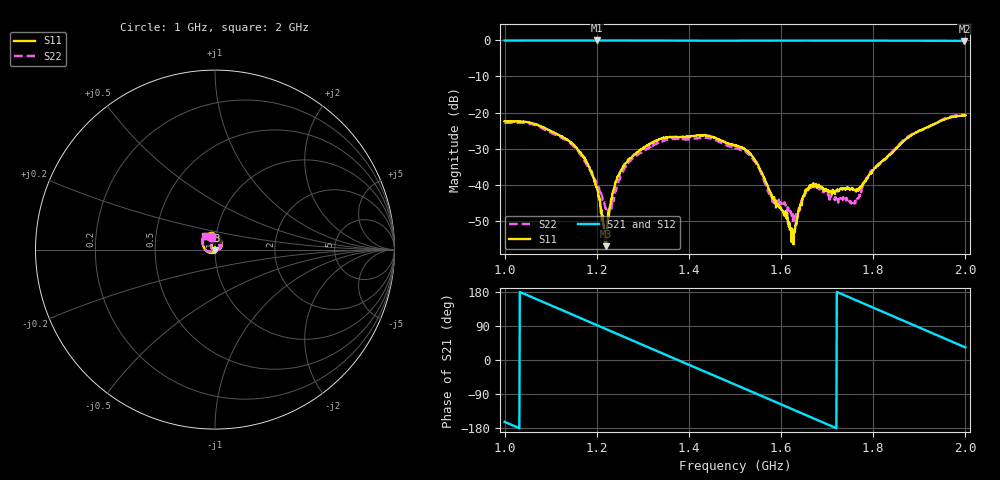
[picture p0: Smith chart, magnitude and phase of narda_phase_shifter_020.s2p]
#  HZ  S  DB  R  50.00
! Rohde & Schwarz Vector Network Analyzer
! Rohde-Schwarz,ZNB8-4Port,1311601044102961,2.82
! Created: UTC 3/4/2022, 4:04:18 PM
! freq[Hz]  db:S11  ang:S11  db:S21  ang:S21  db:S12  ang:S12  db:S22  ang:S22
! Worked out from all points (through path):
!   1001 points, 1 GHz to 2 GHz, reference 50 ohm
!   highest |S21| = -0.14 dB at 1.201 GHz (marker M1); lowest = -0.3 dB at 1.998 GHz (marker M2)
!   group delay of S21, straight-line fit = 1.45 ns
!   lowest |S11| = -56.8 dB at 1.22 GHz (marker M3), VSWR 1.00, Z = 50 - j0.143 ohm
!   |S11| at or under -10 dB: start of sweep to end of sweep
!   |S22| runs from -50.7 to -20.5 dB; largest |S21 - S12| = 0.0023
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1e9  -22.39 105.7  -0.15 -163.3  -0.14 -163.3  -22.81 106.3
1.078e9  -23.81 62.9  -0.15 156.0  -0.14 156.0  -24.06 65.4
1.167e9  -31.65 8.6  -0.14 109.4  -0.13 109.4  -31.98 16.5
1.201e9  -40.73 -7.8  -0.14 91.6  -0.14 91.5  -40.01 -28.2
1.216e9  -53.60 -35.8  -0.14 83.7  -0.14 83.7  -44.57 -71.0
1.22e9  -56.84 -96.3  -0.15 81.6  -0.14 81.6  -46.62 -91.8
1.236e9  -41.39 -174.1  -0.15 73.2  -0.14 73.2  -43.50 -171.9
1.256e9  -35.21 167.1  -0.15 62.7  -0.15 62.7  -36.46 155.9
1.334e9  -27.53 113.2  -0.17 21.8  -0.16 21.9  -28.37 117.2
1.412e9  -26.45 70.3  -0.19 -18.9  -0.20 -18.9  -27.23 78.8
1.5e9  -28.94 25.5  -0.20 -64.7  -0.20 -64.6  -29.89 27.9
1.545e9  -33.43 1.9  -0.18 -88.3  -0.18 -88.2  -33.85 4.0
1.581e9  -43.58 -14.4  -0.18 -107.1  -0.18 -107.1  -44.54 -37.3
1.624e9  -52.01 39.3  -0.18 -129.6  -0.17 -129.6  -48.40 -116.9
1.632e9  -50.55 85.0  -0.18 -133.9  -0.18 -133.8  -48.75 -151.3
1.651e9  -42.41 104.7  -0.18 -143.8  -0.18 -143.8  -42.92 158.6
1.667e9  -39.87 93.3  -0.18 -152.2  -0.17 -152.2  -40.02 149.4
1.756e9  -41.32 -5.3  -0.18 161.2  -0.18 161.2  -44.92 154.0
1.834e9  -31.89 -133.5  -0.20 120.2  -0.19 120.2  -31.85 -156.6
1.913e9  -24.28 171.3  -0.22 78.8  -0.21 78.8  -24.42 171.3
1.998e9  -20.84 122.3  -0.26 34.3  -0.26 34.3  -20.46 128.8
2e9  -20.81 121.3  -0.26 33.2  -0.25 33.3  -20.49 127.8
